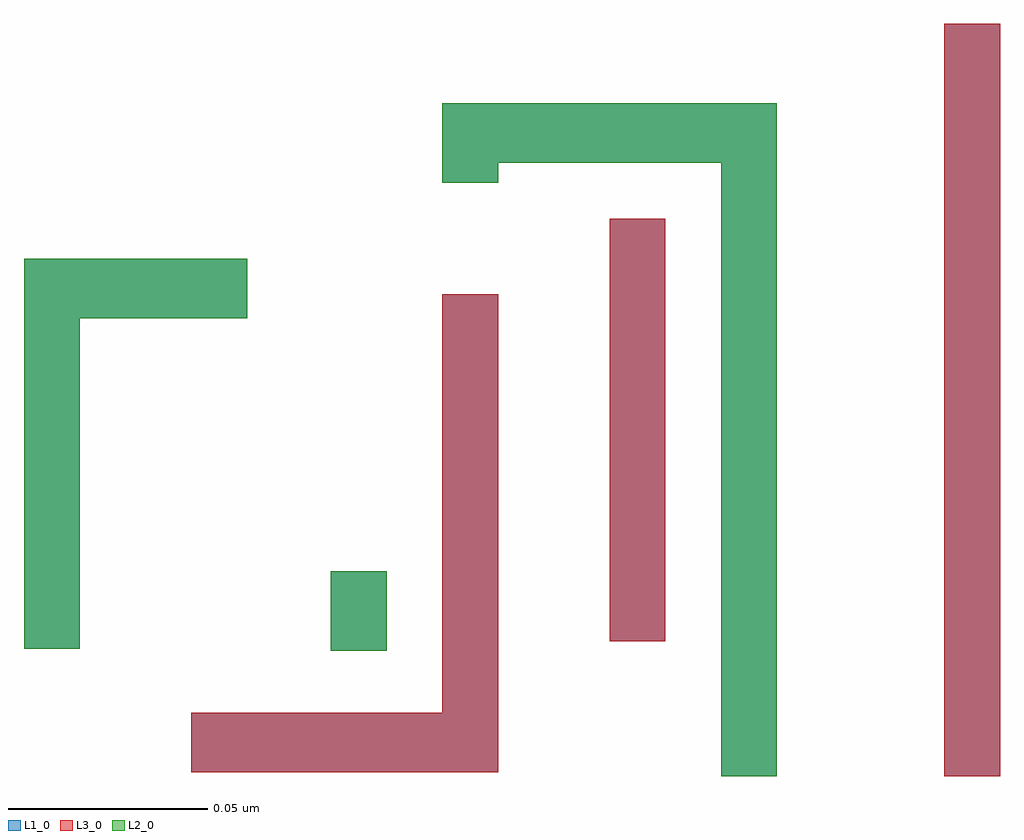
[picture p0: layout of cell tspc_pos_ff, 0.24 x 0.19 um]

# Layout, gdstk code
import gdstk
lib = gdstk.Library(unit=1e-6, precision=5e-10)
def R(c, l, rs):  # rectangles x0, y0, x1, y1
    for r in rs: c.add(gdstk.rectangle(r[:2], r[2:], *l))
def P(c, l, *ps):  # polygons
    for p in ps: c.add(gdstk.Polygon(p, *l))
L1_0 = (1, 0)
L2_0 = (2, 0)
L3_0 = (3, 0)

tspc_pos_ff = lib.new_cell('tspc_pos_ff')
R(tspc_pos_ff, L1_0, [(0.266,0.034,0.28,0.223), (0.112,0.0655,0.126,0.0855), (0.182,0.068,0.196,0.174)])
P(tspc_pos_ff, L1_0, [(0.224,0.203),(0.224,0.034),(0.21,0.034),(0.21,0.188),(0.154,0.188),(0.154,0.183),(0.14,0.183),(0.14,0.203)],
  [(0.154,0.155),(0.154,0.035),(0.077,0.035),(0.077,0.05),(0.14,0.05),(0.14,0.155)],
  [(0.091,0.164),(0.091,0.149),(0.049,0.149),(0.049,0.066),(0.035,0.066),(0.035,0.164)])
R(tspc_pos_ff, L2_0, [(0.112,0.0655,0.126,0.0855)])
P(tspc_pos_ff, L2_0, [(0.224,0.203),(0.224,0.034),(0.21,0.034),(0.21,0.188),(0.154,0.188),(0.154,0.183),(0.14,0.183),(0.14,0.203)],
  [(0.091,0.164),(0.091,0.149),(0.049,0.149),(0.049,0.066),(0.035,0.066),(0.035,0.164)])
R(tspc_pos_ff, L3_0, [(0.266,0.034,0.28,0.223), (0.182,0.068,0.196,0.174)])
P(tspc_pos_ff, L3_0, [(0.154,0.155),(0.154,0.035),(0.077,0.035),(0.077,0.05),(0.14,0.05),(0.14,0.155)])

lib.write_gds('tspc_pos_ff.gds')
